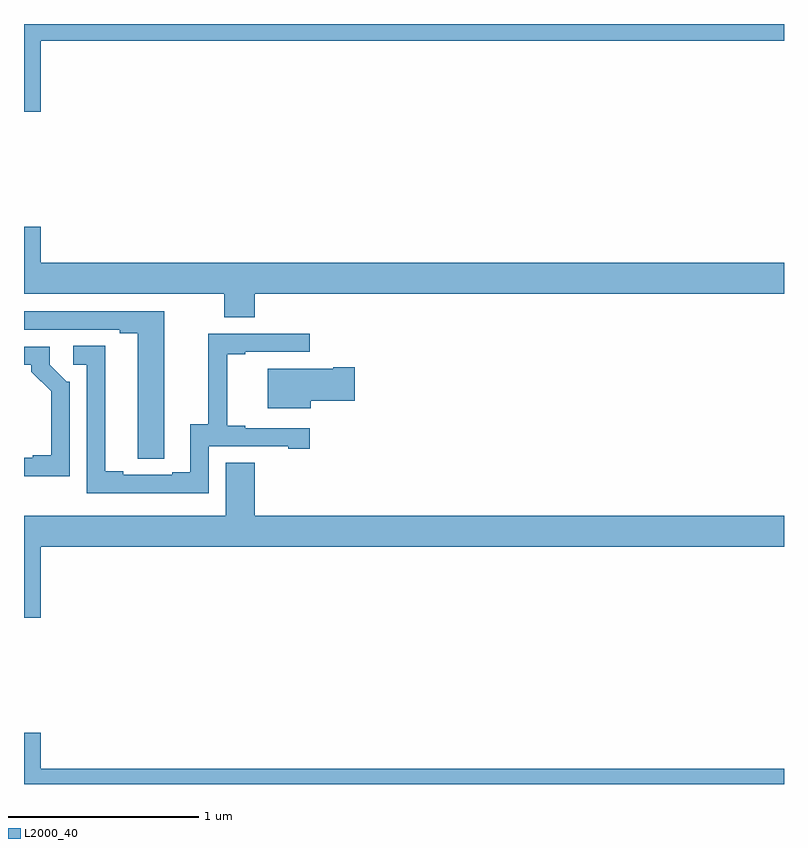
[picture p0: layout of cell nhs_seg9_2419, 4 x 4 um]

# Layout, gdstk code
import gdstk
lib = gdstk.Library(unit=1e-6, precision=1e-09)
def P(c, l, *ps):  # polygons
    for p in ps: c.add(gdstk.Polygon(p, *l))
L2000_40 = (2000, 40)

nhs_seg9_2419 = lib.new_cell('nhs_seg9_2419')
P(nhs_seg9_2419, L2000_40, [(249.088,1204.412),(253,1204.412),(253,1204.5),(249,1204.5),(249,1204.038),(249.088,1204.038)],
  [(250.214,1203.08),(253,1203.08),(253,1203.244),(249.088,1203.244),(249.088,1203.433),(249,1203.433),(249,1203.08),(250.054,1203.08),(250.054,1202.956),(250.214,1202.956)],
  [(249.738,1202.32),(249.739,1202.32),(249.739,1202.988),(249,1202.988),(249,1202.892),(249.503,1202.892),(249.503,1202.872),(249.599,1202.872),(249.599,1202.212),(249.738,1202.212)],
  [(249.972,1202.277),(250.391,1202.277),(250.391,1202.265),(250.504,1202.265),(250.504,1202.373),(250.165,1202.373),(250.165,1202.386),(250.07,1202.386),(250.07,1202.763),(250.165,1202.763),(250.165,1202.775),(250.504,1202.775),(250.504,1202.871),(249.97,1202.871),(249.97,1202.393),(249.875,1202.393),(249.875,1202.142),(249.779,1202.142),(249.779,1202.127),(249.523,1202.127),(249.523,1202.147),(249.427,1202.147),(249.427,1202.807),(249.258,1202.807),(249.258,1202.706),(249.33,1202.706),(249.33,1202.031),(249.972,1202.031)],
  [(249.24,1202.616),(249.225,1202.616),(249.135,1202.706),(249.135,1202.802),(249,1202.802),(249,1202.706),(249.038,1202.706),(249.038,1202.671),(249.143,1202.566),(249.143,1202.23),(249.047,1202.23),(249.047,1202.217),(249,1202.217),(249,1202.12),(249.24,1202.12)],
  [(250.51,1202.516),(250.741,1202.516),(250.741,1202.694),(250.628,1202.694),(250.628,1202.686),(250.283,1202.686),(250.283,1202.477),(250.51,1202.477)],
  [(249.088,1201.748),(253,1201.748),(253,1201.912),(250.214,1201.912),(250.214,1202.192),(250.061,1202.192),(250.061,1201.912),(249,1201.912),(249,1201.374),(249.088,1201.374)],
  [(253,1200.58),(249.088,1200.58),(249.088,1200.769),(249,1200.769),(249,1200.5),(253,1200.5)])

lib.write_gds('nhs_seg9_2419.gds')
